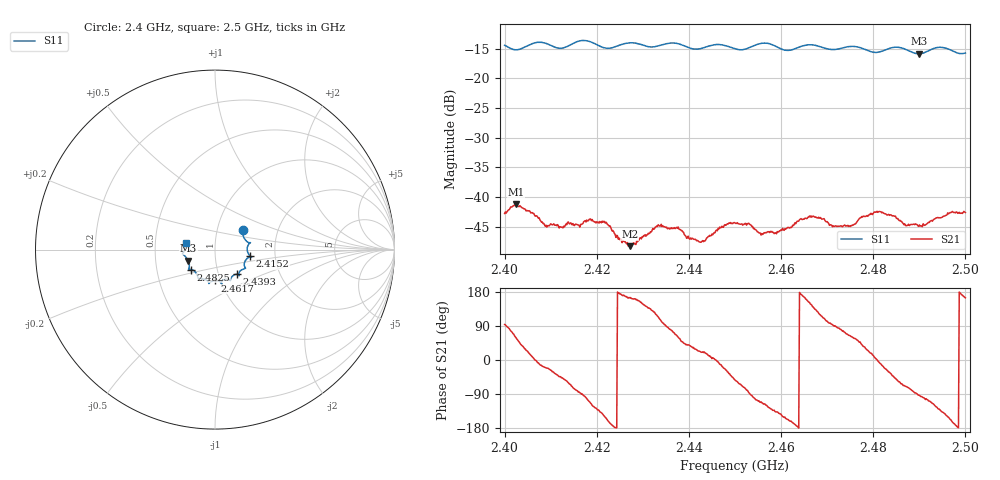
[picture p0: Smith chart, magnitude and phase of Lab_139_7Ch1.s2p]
# Hz S RI R 50
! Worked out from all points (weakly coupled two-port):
!   601 points, 2.4 GHz to 2.5 GHz, reference 50 ohm
!   highest |S21| = -41.23 dB at 2.4025 GHz (marker M1); lowest = -48.3 dB at 2.4272 GHz (marker M2)
!   lowest |S11| = -15.9 dB at 2.49 GHz (marker M3), VSWR 1.38, Z = 36.8 - j4.72 ohm
!   |S11| at or under -10 dB: start of sweep to end of sweep
!   S12 and S22 are empty: the file has one direction only
!   S11 on the Smith chart (normalised r, x): 2.4 GHz: 1.33, +0.30; 2.4152 GHz: 1.48, -0.11; 2.4393 GHz: 1.23, -0.35; 2.4617 GHz: 0.94, -0.33; 2.4825 GHz: 0.75, -0.17; 2.5 GHz: 0.72, +0.05
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2.4e9  0.1555 0.1097  -0.00046 0.00723  0 0  0 0
2.4025e9  0.1598 0.069  0.00454 0.0074  0 0  0 0
2.409167e9  0.1926 0.0358  0.00518 -0.00204  0 0  0 0
2.412167e9  0.1791 0.00105  0.00402 -0.00391  0 0  0 0
2.415167e9  0.196 -0.0367  0.00134 -0.00558  0 0  0 0
2.416667e9  0.2039 -0.0422  -2.84e-05 -0.00586  0 0  0 0
2.421667e9  0.1712 -0.0583  -0.00529 -0.00326  0 0  0 0
2.427167e9  0.1704 -0.1033  -0.0037 0.00107  0 0  0 0
2.433333e9  0.1328 -0.1327  -0.00235 0.00534  0 0  0 0
2.437667e9  0.1336 -0.1432  0.00279 0.00484  0 0  0 0
2.439333e9  0.1238 -0.138  0.00356 0.00302  0 0  0 0
2.443e9  0.091 -0.1553  0.00399 0.00157  0 0  0 0
2.45e9  0.067 -0.1644  0.00365 -0.00481  0 0  0 0
2.455667e9  0.0372 -0.1934  -0.00167 -0.00447  0 0  0 0
2.461667e9  0.000635 -0.1721  -0.00514 -0.00198  0 0  0 0
2.466667e9  -0.0339 -0.1888  -0.00551 0.0039  0 0  0 0
2.4745e9  -0.0897 -0.1617  0.00225 0.0053  0 0  0 0
2.4825e9  -0.1324 -0.111  0.00671 -0.00268  0 0  0 0
2.483333e9  -0.1398 -0.1101  0.00607 -0.00374  0 0  0 0
2.49e9  -0.1484 -0.0624  -0.000298 -0.00581  0 0  0 0
2.4945e9  -0.1813 -0.0225  -0.00447 -0.00498  0 0  0 0
2.5e9  -0.1597 0.0353  -0.00711 0.00204  0 0  0 0
